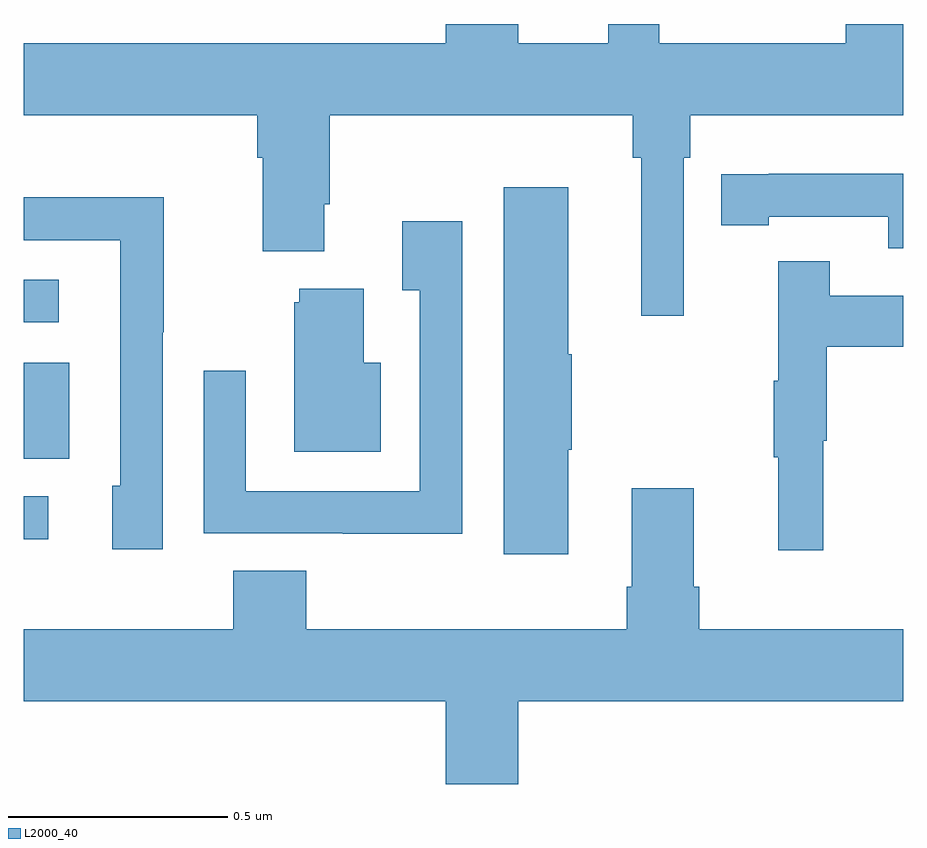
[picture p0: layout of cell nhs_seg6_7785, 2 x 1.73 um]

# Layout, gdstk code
import gdstk
lib = gdstk.Library(unit=1e-6, precision=1e-09)
def R(c, l, rs):  # rectangles x0, y0, x1, y1
    for r in rs: c.add(gdstk.rectangle(r[:2], r[2:], *l))
def P(c, l, *ps):  # polygons
    for p in ps: c.add(gdstk.Polygon(p, *l))
L2000_40 = (2000, 40)

nhs_seg6_7785 = lib.new_cell('nhs_seg6_7785')
R(nhs_seg6_7785, L2000_40, [(212,990.329,212.056,990.426), (212,990.511,212.104,990.73), (212,990.822,212.08,990.918)])
P(nhs_seg6_7785, L2000_40, [(213.501,991.196),(213.515,991.196),(213.515,991.292),(214,991.292),(214,991.5),(213.869,991.5),(213.869,991.456),(213.445,991.456),(213.445,991.5),(213.329,991.5),(213.329,991.456),(213.124,991.456),(213.124,991.5),(212.96,991.5),(212.96,991.456),(212,991.456),(212,991.292),(212.531,991.292),(212.531,991.196),(212.543,991.196),(212.543,990.983),(212.683,990.983),(212.683,991.09),(212.696,991.09),(212.696,991.292),(213.385,991.292),(213.385,991.196),(213.404,991.196),(213.404,990.837),(213.501,990.837)],
  [(214,991.159),(213.694,991.159),(213.694,991.158),(213.586,991.158),(213.586,991.042),(213.694,991.042),(213.694,991.062),(213.966,991.062),(213.966,990.99),(214,990.99)],
  [(213.238,990.532),(213.246,990.532),(213.246,990.749),(213.238,990.749),(213.238,991.129),(213.092,991.129),(213.092,990.294),(213.238,990.294)],
  [(212.316,990.799),(212.319,990.799),(212.319,991.106),(212,991.106),(212,991.008),(212.22,991.008),(212.22,990.45),(212.201,990.45),(212.201,990.306),(212.316,990.306)],
  [(212.997,991.051),(212.861,991.051),(212.861,990.895),(212.901,990.895),(212.901,990.438),(212.505,990.438),(212.505,990.712),(212.409,990.712),(212.409,990.342),(212.725,990.342),(212.725,990.341),(212.997,990.341)],
  [(213.818,990.552),(213.826,990.552),(213.826,990.766),(214,990.766),(214,990.882),(213.833,990.882),(213.833,990.961),(213.716,990.961),(213.716,990.689),(213.705,990.689),(213.705,990.515),(213.716,990.515),(213.716,990.303),(213.818,990.303)],
  [(212.812,990.73),(212.773,990.73),(212.773,990.898),(212.627,990.898),(212.627,990.867),(212.615,990.867),(212.615,990.527),(212.812,990.527)],
  [(213.124,989.96),(214,989.96),(214,990.124),(213.536,990.124),(213.536,990.22),(213.523,990.22),(213.523,990.445),(213.383,990.445),(213.383,990.22),(213.371,990.22),(213.371,990.124),(212.642,990.124),(212.642,990.257),(212.477,990.257),(212.477,990.124),(212,990.124),(212,989.96),(212.96,989.96),(212.96,989.772),(213.124,989.772)])

lib.write_gds('nhs_seg6_7785.gds')
